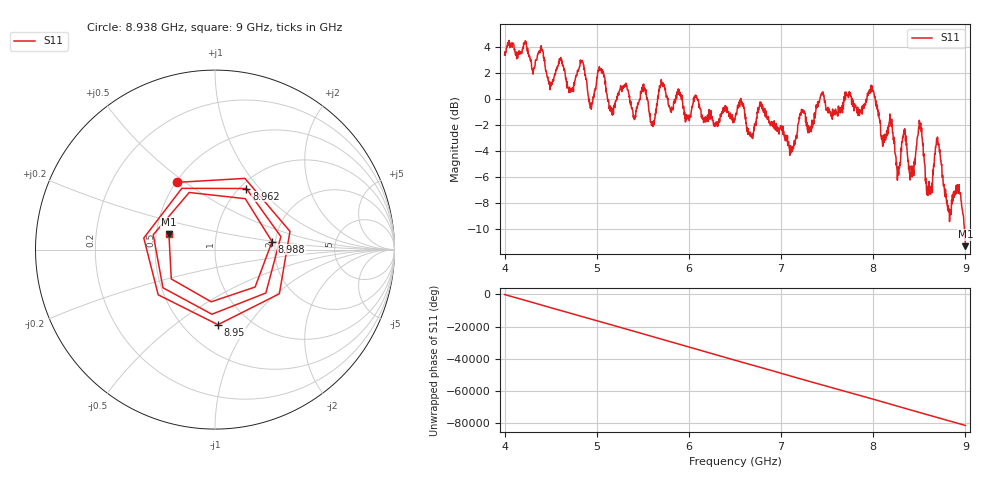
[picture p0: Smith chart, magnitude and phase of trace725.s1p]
! Created with skrf 1.8.0 (http://scikit-rf.org).
# Hz S RI R 50.0
!freq ReS11 ImS11
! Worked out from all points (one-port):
!   1601 points, 4 GHz to 9 GHz, reference 50 ohm
!   lowest |S11| = -11.4 dB at 9 GHz (marker M1), VSWR 1.74, Z = 29.2 + j5.4 ohm
!   |S11| at or under -10 dB: 8.988927 GHz to end of sweep
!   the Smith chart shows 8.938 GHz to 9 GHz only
!   S11 on the Smith chart (normalised r, x): 8.938 GHz: 0.50, +0.46; 8.95 GHz: 0.72, -0.73; 8.962 GHz: 1.07, +0.85; 8.988 GHz: 1.92, +0.19; 9 GHz: 0.58, +0.11
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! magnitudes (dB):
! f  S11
! 4 GHz  3.4
! 4.625 GHz  2.8
! 4.722 GHz  0.8
! 4.844 GHz  2.9
! 4.934 GHz  -0.6
! 5.038 GHz  2.3
! 5.156 GHz  -0.9
! 5.25 GHz  0.7
! 5.512 GHz  0.6
! 5.606 GHz  -1.9
! 5.706 GHz  1.2
! 5.875 GHz  0.6
! 6.5 GHz  -1.6
! 7.125 GHz  -3.9
! 7.228 GHz  -1.0
! 7.75 GHz  0.3
! 7.994 GHz  0.6
! 8.262 GHz  -6.3
! 8.375 GHz  -4.5
! 8.506 GHz  -1.9
! 8.597 GHz  -7.2
! 8.7 GHz  -3.1
! 8.819 GHz  -8.5
! 8.938 GHz  -7.3
! 8.95 GHz  -7.6
! 8.962 GHz  -8.3
! 8.988 GHz  -9.9
! 9 GHz  -11.4
